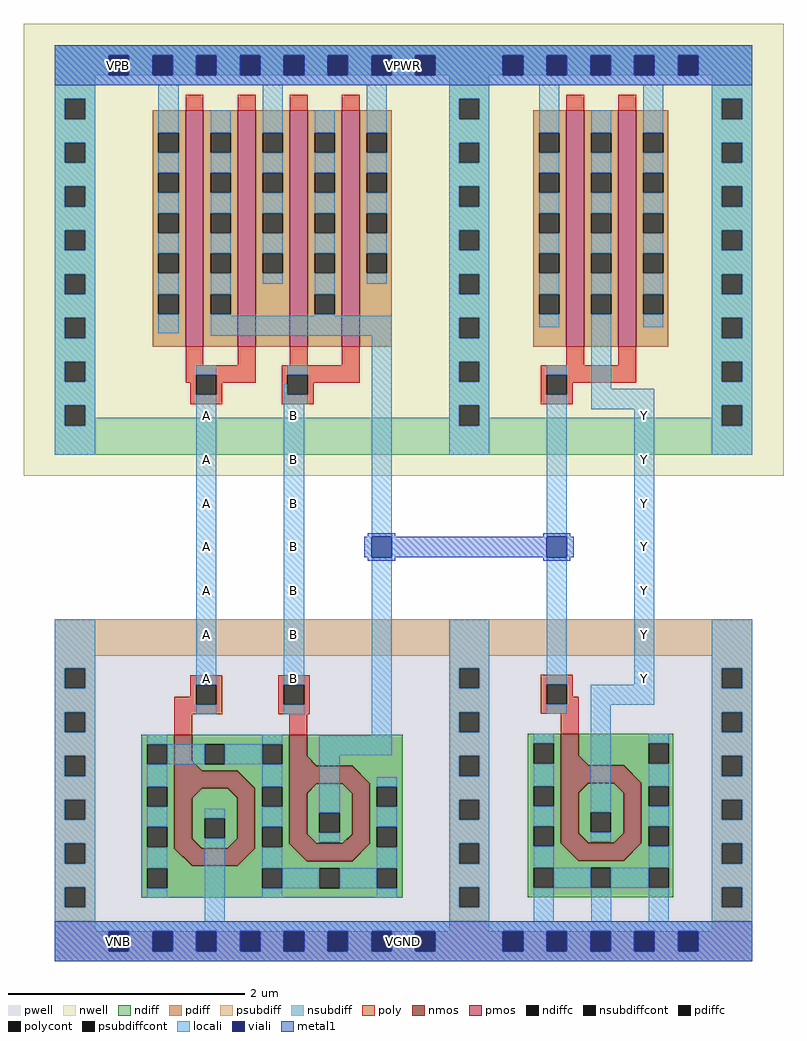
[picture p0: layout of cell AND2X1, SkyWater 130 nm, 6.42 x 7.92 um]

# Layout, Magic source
magic
tech sky130A
magscale 1 2
<< nwell >>
rect -87 786 1197 1550
<< pwell >>
rect -34 -34 1144 544
<< nmos >>
rect 168 288 198 349
tri 198 288 214 304 sw
rect 362 296 392 349
tri 392 296 408 312 sw
rect 168 258 274 288
tri 274 258 304 288 sw
rect 362 266 468 296
tri 468 266 498 296 sw
rect 168 157 198 258
tri 198 242 214 258 nw
tri 258 242 274 258 ne
tri 198 157 214 173 sw
tri 258 157 274 173 se
rect 274 157 304 258
rect 362 165 392 266
tri 392 250 408 266 nw
tri 452 250 468 266 ne
tri 392 165 408 181 sw
tri 452 165 468 181 se
rect 468 165 498 266
tri 168 127 198 157 ne
rect 198 127 274 157
tri 274 127 304 157 nw
tri 362 135 392 165 ne
rect 392 135 468 165
tri 468 135 498 165 nw
rect 821 297 851 350
tri 851 297 867 313 sw
rect 821 267 927 297
tri 927 267 957 297 sw
rect 821 166 851 267
tri 851 251 867 267 nw
tri 911 251 927 267 ne
tri 851 166 867 182 sw
tri 911 166 927 182 se
rect 927 166 957 267
tri 821 136 851 166 ne
rect 851 136 927 166
tri 927 136 957 166 nw
<< pmos >>
rect 187 1004 217 1404
rect 275 1004 305 1404
rect 363 1004 393 1404
rect 451 1004 481 1404
rect 830 1004 860 1404
rect 918 1004 948 1404
<< ndiff >>
rect 112 333 168 349
rect 112 299 122 333
rect 156 299 168 333
rect 112 261 168 299
rect 198 333 362 349
rect 198 304 219 333
tri 198 288 214 304 ne
rect 214 299 219 304
rect 253 299 316 333
rect 350 299 362 333
rect 214 288 362 299
rect 392 312 554 349
tri 392 296 408 312 ne
rect 408 296 554 312
rect 112 227 122 261
rect 156 227 168 261
tri 274 258 304 288 ne
rect 304 261 362 288
tri 468 266 498 296 ne
rect 112 193 168 227
rect 112 159 122 193
rect 156 159 168 193
rect 112 127 168 159
tri 198 242 214 258 se
rect 214 242 258 258
tri 258 242 274 258 sw
rect 198 208 274 242
rect 198 174 219 208
rect 253 174 274 208
rect 198 173 274 174
tri 198 157 214 173 ne
rect 214 157 258 173
tri 258 157 274 173 nw
rect 304 227 316 261
rect 350 227 362 261
rect 304 193 362 227
rect 304 159 316 193
rect 350 159 362 193
tri 392 250 408 266 se
rect 408 250 452 266
tri 452 250 468 266 sw
rect 392 217 468 250
rect 392 183 413 217
rect 447 183 468 217
rect 392 181 468 183
tri 392 165 408 181 ne
rect 408 165 452 181
tri 452 165 468 181 nw
rect 498 261 554 296
rect 498 227 510 261
rect 544 227 554 261
rect 498 193 554 227
tri 168 127 198 157 sw
tri 274 127 304 157 se
rect 304 135 362 159
tri 362 135 392 165 sw
tri 468 135 498 165 se
rect 498 159 510 193
rect 544 159 554 193
rect 498 135 554 159
rect 304 127 554 135
rect 112 123 554 127
rect 112 89 122 123
rect 156 89 316 123
rect 350 89 413 123
rect 447 89 510 123
rect 544 89 554 123
rect 112 73 554 89
rect 765 334 821 350
rect 765 300 775 334
rect 809 300 821 334
rect 765 262 821 300
rect 851 334 1011 350
rect 851 313 969 334
tri 851 297 867 313 ne
rect 867 300 969 313
rect 1003 300 1011 334
rect 867 297 1011 300
tri 927 267 957 297 ne
rect 765 228 775 262
rect 809 228 821 262
rect 765 194 821 228
rect 765 160 775 194
rect 809 160 821 194
tri 851 251 867 267 se
rect 867 251 911 267
tri 911 251 927 267 sw
rect 851 218 927 251
rect 851 184 871 218
rect 905 184 927 218
rect 851 182 927 184
tri 851 166 867 182 ne
rect 867 166 911 182
tri 911 166 927 182 nw
rect 957 262 1011 297
rect 957 228 969 262
rect 1003 228 1011 262
rect 957 194 1011 228
rect 765 136 821 160
tri 821 136 851 166 sw
tri 927 136 957 166 se
rect 957 160 969 194
rect 1003 160 1011 194
rect 957 136 1011 160
rect 765 124 1011 136
rect 765 90 775 124
rect 809 90 871 124
rect 905 90 969 124
rect 1003 90 1011 124
rect 765 74 1011 90
<< pdiff >>
rect 131 1366 187 1404
rect 131 1332 141 1366
rect 175 1332 187 1366
rect 131 1298 187 1332
rect 131 1264 141 1298
rect 175 1264 187 1298
rect 131 1230 187 1264
rect 131 1196 141 1230
rect 175 1196 187 1230
rect 131 1162 187 1196
rect 131 1128 141 1162
rect 175 1128 187 1162
rect 131 1093 187 1128
rect 131 1059 141 1093
rect 175 1059 187 1093
rect 131 1004 187 1059
rect 217 1366 275 1404
rect 217 1332 229 1366
rect 263 1332 275 1366
rect 217 1298 275 1332
rect 217 1264 229 1298
rect 263 1264 275 1298
rect 217 1230 275 1264
rect 217 1196 229 1230
rect 263 1196 275 1230
rect 217 1162 275 1196
rect 217 1128 229 1162
rect 263 1128 275 1162
rect 217 1093 275 1128
rect 217 1059 229 1093
rect 263 1059 275 1093
rect 217 1004 275 1059
rect 305 1366 363 1404
rect 305 1332 317 1366
rect 351 1332 363 1366
rect 305 1298 363 1332
rect 305 1264 317 1298
rect 351 1264 363 1298
rect 305 1230 363 1264
rect 305 1196 317 1230
rect 351 1196 363 1230
rect 305 1162 363 1196
rect 305 1128 317 1162
rect 351 1128 363 1162
rect 305 1004 363 1128
rect 393 1366 451 1404
rect 393 1332 405 1366
rect 439 1332 451 1366
rect 393 1298 451 1332
rect 393 1264 405 1298
rect 439 1264 451 1298
rect 393 1230 451 1264
rect 393 1196 405 1230
rect 439 1196 451 1230
rect 393 1162 451 1196
rect 393 1128 405 1162
rect 439 1128 451 1162
rect 393 1093 451 1128
rect 393 1059 405 1093
rect 439 1059 451 1093
rect 393 1004 451 1059
rect 481 1366 535 1404
rect 481 1332 493 1366
rect 527 1332 535 1366
rect 481 1298 535 1332
rect 481 1264 493 1298
rect 527 1264 535 1298
rect 481 1230 535 1264
rect 481 1196 493 1230
rect 527 1196 535 1230
rect 481 1162 535 1196
rect 481 1128 493 1162
rect 527 1128 535 1162
rect 481 1004 535 1128
rect 774 1366 830 1404
rect 774 1332 784 1366
rect 818 1332 830 1366
rect 774 1298 830 1332
rect 774 1264 784 1298
rect 818 1264 830 1298
rect 774 1230 830 1264
rect 774 1196 784 1230
rect 818 1196 830 1230
rect 774 1162 830 1196
rect 774 1128 784 1162
rect 818 1128 830 1162
rect 774 1093 830 1128
rect 774 1059 784 1093
rect 818 1059 830 1093
rect 774 1004 830 1059
rect 860 1366 918 1404
rect 860 1332 872 1366
rect 906 1332 918 1366
rect 860 1298 918 1332
rect 860 1264 872 1298
rect 906 1264 918 1298
rect 860 1230 918 1264
rect 860 1196 872 1230
rect 906 1196 918 1230
rect 860 1162 918 1196
rect 860 1128 872 1162
rect 906 1128 918 1162
rect 860 1093 918 1128
rect 860 1059 872 1093
rect 906 1059 918 1093
rect 860 1004 918 1059
rect 948 1366 1002 1404
rect 948 1332 960 1366
rect 994 1332 1002 1366
rect 948 1298 1002 1332
rect 948 1264 960 1298
rect 994 1264 1002 1298
rect 948 1230 1002 1264
rect 948 1196 960 1230
rect 994 1196 1002 1230
rect 948 1162 1002 1196
rect 948 1128 960 1162
rect 994 1128 1002 1162
rect 948 1093 1002 1128
rect 948 1059 960 1093
rect 994 1059 1002 1093
rect 948 1004 1002 1059
<< ndiffc >>
rect 122 299 156 333
rect 219 299 253 333
rect 316 299 350 333
rect 122 227 156 261
rect 122 159 156 193
rect 219 174 253 208
rect 316 227 350 261
rect 316 159 350 193
rect 413 183 447 217
rect 510 227 544 261
rect 510 159 544 193
rect 122 89 156 123
rect 316 89 350 123
rect 413 89 447 123
rect 510 89 544 123
rect 775 300 809 334
rect 969 300 1003 334
rect 775 228 809 262
rect 775 160 809 194
rect 871 184 905 218
rect 969 228 1003 262
rect 969 160 1003 194
rect 775 90 809 124
rect 871 90 905 124
rect 969 90 1003 124
<< pdiffc >>
rect 141 1332 175 1366
rect 141 1264 175 1298
rect 141 1196 175 1230
rect 141 1128 175 1162
rect 141 1059 175 1093
rect 229 1332 263 1366
rect 229 1264 263 1298
rect 229 1196 263 1230
rect 229 1128 263 1162
rect 229 1059 263 1093
rect 317 1332 351 1366
rect 317 1264 351 1298
rect 317 1196 351 1230
rect 317 1128 351 1162
rect 405 1332 439 1366
rect 405 1264 439 1298
rect 405 1196 439 1230
rect 405 1128 439 1162
rect 405 1059 439 1093
rect 493 1332 527 1366
rect 493 1264 527 1298
rect 493 1196 527 1230
rect 493 1128 527 1162
rect 784 1332 818 1366
rect 784 1264 818 1298
rect 784 1196 818 1230
rect 784 1128 818 1162
rect 784 1059 818 1093
rect 872 1332 906 1366
rect 872 1264 906 1298
rect 872 1196 906 1230
rect 872 1128 906 1162
rect 872 1059 906 1093
rect 960 1332 994 1366
rect 960 1264 994 1298
rect 960 1196 994 1230
rect 960 1128 994 1162
rect 960 1059 994 1093
<< psubdiff >>
rect -34 482 1144 544
rect -34 461 34 482
rect -34 427 -17 461
rect 17 427 34 461
rect 632 461 700 482
rect -34 387 34 427
rect -34 353 -17 387
rect 17 353 34 387
rect -34 313 34 353
rect 632 427 649 461
rect 683 427 700 461
rect 1076 461 1144 482
rect 632 387 700 427
rect 632 353 649 387
rect 683 353 700 387
rect 1076 427 1093 461
rect 1127 427 1144 461
rect -34 279 -17 313
rect 17 279 34 313
rect -34 239 34 279
rect -34 205 -17 239
rect 17 205 34 239
rect -34 165 34 205
rect -34 131 -17 165
rect 17 131 34 165
rect -34 91 34 131
rect -34 57 -17 91
rect 17 57 34 91
rect 632 313 700 353
rect 1076 387 1144 427
rect 1076 353 1093 387
rect 1127 353 1144 387
rect 632 279 649 313
rect 683 279 700 313
rect 632 239 700 279
rect 632 205 649 239
rect 683 205 700 239
rect 632 165 700 205
rect 632 131 649 165
rect 683 131 700 165
rect 632 91 700 131
rect -34 17 34 57
rect 632 57 649 91
rect 683 57 700 91
rect 1076 313 1144 353
rect 1076 279 1093 313
rect 1127 279 1144 313
rect 1076 239 1144 279
rect 1076 205 1093 239
rect 1127 205 1144 239
rect 1076 165 1144 205
rect 1076 131 1093 165
rect 1127 131 1144 165
rect 1076 91 1144 131
rect 632 17 700 57
rect 1076 57 1093 91
rect 1127 57 1144 91
rect 1076 17 1144 57
rect -34 -17 57 17
rect 91 -17 131 17
rect 165 -17 205 17
rect 239 -17 279 17
rect 313 -17 353 17
rect 387 -17 427 17
rect 461 -17 501 17
rect 535 -17 575 17
rect 609 -17 723 17
rect 757 -17 797 17
rect 831 -17 871 17
rect 905 -17 945 17
rect 979 -17 1019 17
rect 1053 -17 1144 17
rect -34 -34 1144 -17
<< nsubdiff >>
rect -34 1497 1144 1514
rect -34 1463 57 1497
rect 91 1463 131 1497
rect 165 1463 205 1497
rect 239 1463 279 1497
rect 313 1463 353 1497
rect 387 1463 427 1497
rect 461 1463 501 1497
rect 535 1463 575 1497
rect 609 1463 723 1497
rect 757 1463 797 1497
rect 831 1463 871 1497
rect 905 1463 945 1497
rect 979 1463 1019 1497
rect 1053 1463 1144 1497
rect -34 1423 34 1463
rect -34 1389 -17 1423
rect 17 1389 34 1423
rect 632 1423 700 1463
rect -34 1349 34 1389
rect -34 1315 -17 1349
rect 17 1315 34 1349
rect -34 1275 34 1315
rect -34 1241 -17 1275
rect 17 1241 34 1275
rect -34 1201 34 1241
rect -34 1167 -17 1201
rect 17 1167 34 1201
rect -34 1127 34 1167
rect -34 1093 -17 1127
rect 17 1093 34 1127
rect -34 1053 34 1093
rect -34 1019 -17 1053
rect 17 1019 34 1053
rect -34 979 34 1019
rect 632 1389 649 1423
rect 683 1389 700 1423
rect 1076 1423 1144 1463
rect 632 1349 700 1389
rect 632 1315 649 1349
rect 683 1315 700 1349
rect 632 1275 700 1315
rect 632 1241 649 1275
rect 683 1241 700 1275
rect 632 1201 700 1241
rect 632 1167 649 1201
rect 683 1167 700 1201
rect 632 1127 700 1167
rect 632 1093 649 1127
rect 683 1093 700 1127
rect 632 1053 700 1093
rect 632 1019 649 1053
rect 683 1019 700 1053
rect -34 945 -17 979
rect 17 945 34 979
rect -34 905 34 945
rect 632 979 700 1019
rect 1076 1389 1093 1423
rect 1127 1389 1144 1423
rect 1076 1349 1144 1389
rect 1076 1315 1093 1349
rect 1127 1315 1144 1349
rect 1076 1275 1144 1315
rect 1076 1241 1093 1275
rect 1127 1241 1144 1275
rect 1076 1201 1144 1241
rect 1076 1167 1093 1201
rect 1127 1167 1144 1201
rect 1076 1127 1144 1167
rect 1076 1093 1093 1127
rect 1127 1093 1144 1127
rect 1076 1053 1144 1093
rect 1076 1019 1093 1053
rect 1127 1019 1144 1053
rect 632 945 649 979
rect 683 945 700 979
rect -34 871 -17 905
rect 17 884 34 905
rect 632 905 700 945
rect 1076 979 1144 1019
rect 1076 945 1093 979
rect 1127 945 1144 979
rect 632 884 649 905
rect 17 871 649 884
rect 683 884 700 905
rect 1076 905 1144 945
rect 1076 884 1093 905
rect 683 871 1093 884
rect 1127 871 1144 905
rect -34 822 1144 871
<< psubdiffcont >>
rect -17 427 17 461
rect -17 353 17 387
rect 649 427 683 461
rect 649 353 683 387
rect 1093 427 1127 461
rect -17 279 17 313
rect -17 205 17 239
rect -17 131 17 165
rect -17 57 17 91
rect 1093 353 1127 387
rect 649 279 683 313
rect 649 205 683 239
rect 649 131 683 165
rect 649 57 683 91
rect 1093 279 1127 313
rect 1093 205 1127 239
rect 1093 131 1127 165
rect 1093 57 1127 91
rect 57 -17 91 17
rect 131 -17 165 17
rect 205 -17 239 17
rect 279 -17 313 17
rect 353 -17 387 17
rect 427 -17 461 17
rect 501 -17 535 17
rect 575 -17 609 17
rect 723 -17 757 17
rect 797 -17 831 17
rect 871 -17 905 17
rect 945 -17 979 17
rect 1019 -17 1053 17
<< nsubdiffcont >>
rect 57 1463 91 1497
rect 131 1463 165 1497
rect 205 1463 239 1497
rect 279 1463 313 1497
rect 353 1463 387 1497
rect 427 1463 461 1497
rect 501 1463 535 1497
rect 575 1463 609 1497
rect 723 1463 757 1497
rect 797 1463 831 1497
rect 871 1463 905 1497
rect 945 1463 979 1497
rect 1019 1463 1053 1497
rect -17 1389 17 1423
rect -17 1315 17 1349
rect -17 1241 17 1275
rect -17 1167 17 1201
rect -17 1093 17 1127
rect -17 1019 17 1053
rect 649 1389 683 1423
rect 649 1315 683 1349
rect 649 1241 683 1275
rect 649 1167 683 1201
rect 649 1093 683 1127
rect 649 1019 683 1053
rect -17 945 17 979
rect 1093 1389 1127 1423
rect 1093 1315 1127 1349
rect 1093 1241 1127 1275
rect 1093 1167 1127 1201
rect 1093 1093 1127 1127
rect 1093 1019 1127 1053
rect 649 945 683 979
rect -17 871 17 905
rect 1093 945 1127 979
rect 649 871 683 905
rect 1093 871 1127 905
<< poly >>
rect 187 1404 217 1430
rect 275 1404 305 1430
rect 363 1404 393 1430
rect 451 1404 481 1430
rect 830 1404 860 1430
rect 918 1404 948 1430
rect 187 973 217 1004
rect 275 973 305 1004
rect 363 973 393 1004
rect 451 973 481 1004
rect 187 957 305 973
rect 187 943 205 957
rect 195 923 205 943
rect 239 943 305 957
rect 349 957 481 973
rect 239 923 249 943
rect 195 907 249 923
rect 349 923 359 957
rect 393 943 481 957
rect 830 973 860 1004
rect 918 973 948 1004
rect 393 923 403 943
rect 349 907 403 923
rect 787 957 948 973
rect 787 923 797 957
rect 831 943 948 957
rect 831 923 841 943
rect 787 907 841 923
rect 195 433 249 449
rect 195 413 205 433
rect 168 399 205 413
rect 239 399 249 433
rect 168 383 249 399
rect 343 433 397 449
rect 343 399 353 433
rect 387 399 397 433
rect 343 383 397 399
rect 168 349 198 383
rect 362 349 392 383
rect 787 434 841 450
rect 787 400 797 434
rect 831 413 841 434
rect 831 400 851 413
rect 787 384 851 400
rect 821 350 851 384
<< polycont >>
rect 205 923 239 957
rect 359 923 393 957
rect 797 923 831 957
rect 205 399 239 433
rect 353 399 387 433
rect 797 400 831 434
<< locali >>
rect -34 1497 1144 1514
rect -34 1463 57 1497
rect 91 1463 131 1497
rect 165 1463 205 1497
rect 239 1463 279 1497
rect 313 1463 353 1497
rect 387 1463 427 1497
rect 461 1463 501 1497
rect 535 1463 575 1497
rect 609 1463 723 1497
rect 757 1463 797 1497
rect 831 1463 871 1497
rect 905 1463 945 1497
rect 979 1463 1019 1497
rect 1053 1463 1144 1497
rect -34 1446 1144 1463
rect -34 1423 34 1446
rect -34 1389 -17 1423
rect 17 1389 34 1423
rect -34 1349 34 1389
rect -34 1315 -17 1349
rect 17 1315 34 1349
rect -34 1275 34 1315
rect -34 1241 -17 1275
rect 17 1241 34 1275
rect -34 1201 34 1241
rect -34 1167 -17 1201
rect 17 1167 34 1201
rect -34 1127 34 1167
rect -34 1093 -17 1127
rect 17 1093 34 1127
rect -34 1053 34 1093
rect -34 1019 -17 1053
rect 17 1019 34 1053
rect 141 1366 175 1446
rect 141 1298 175 1332
rect 141 1230 175 1264
rect 141 1162 175 1196
rect 141 1093 175 1128
rect 141 1027 175 1059
rect 229 1366 263 1404
rect 229 1298 263 1332
rect 229 1230 263 1264
rect 229 1162 263 1196
rect 229 1093 263 1128
rect 317 1366 351 1446
rect 317 1298 351 1332
rect 317 1230 351 1264
rect 317 1162 351 1196
rect 317 1111 351 1128
rect 405 1366 439 1404
rect 405 1298 439 1332
rect 405 1230 439 1264
rect 405 1162 439 1196
rect 229 1057 263 1059
rect 405 1093 439 1128
rect 493 1366 527 1446
rect 493 1298 527 1332
rect 493 1230 527 1264
rect 493 1162 527 1196
rect 493 1111 527 1128
rect 632 1423 700 1446
rect 632 1389 649 1423
rect 683 1389 700 1423
rect 632 1349 700 1389
rect 632 1315 649 1349
rect 683 1315 700 1349
rect 632 1275 700 1315
rect 632 1241 649 1275
rect 683 1241 700 1275
rect 632 1201 700 1241
rect 632 1167 649 1201
rect 683 1167 700 1201
rect 632 1127 700 1167
rect 405 1057 439 1059
rect 632 1093 649 1127
rect 683 1093 700 1127
rect 229 1023 535 1057
rect -34 979 34 1019
rect -34 945 -17 979
rect 17 945 34 979
rect -34 905 34 945
rect -34 871 -17 905
rect 17 871 34 905
rect -34 822 34 871
rect 205 957 239 973
rect 359 957 393 973
rect -34 461 34 544
rect -34 427 -17 461
rect 17 427 34 461
rect -34 387 34 427
rect -34 353 -17 387
rect 17 353 34 387
rect 205 433 239 923
rect 205 383 239 399
rect 353 923 359 942
rect 353 907 393 923
rect 353 433 387 907
rect 353 383 387 399
rect 501 683 535 1023
rect 632 1053 700 1093
rect 632 1019 649 1053
rect 683 1019 700 1053
rect 784 1366 818 1446
rect 784 1298 818 1332
rect 784 1230 818 1264
rect 784 1162 818 1196
rect 784 1093 818 1128
rect 784 1037 818 1059
rect 872 1366 906 1404
rect 872 1298 906 1332
rect 872 1230 906 1264
rect 872 1162 906 1196
rect 872 1093 906 1128
rect 632 979 700 1019
rect 632 945 649 979
rect 683 945 700 979
rect 632 905 700 945
rect 632 871 649 905
rect 683 871 700 905
rect 632 822 700 871
rect 797 957 831 973
rect -34 313 34 353
rect -34 279 -17 313
rect 17 279 34 313
rect -34 239 34 279
rect -34 205 -17 239
rect 17 205 34 239
rect -34 165 34 205
rect -34 131 -17 165
rect 17 131 34 165
rect -34 91 34 131
rect -34 57 -17 91
rect 17 57 34 91
rect 122 333 156 349
rect 316 333 350 349
rect 501 348 535 649
rect 797 683 831 923
rect 872 933 906 1059
rect 960 1366 994 1446
rect 960 1298 994 1332
rect 960 1230 994 1264
rect 960 1162 994 1196
rect 960 1093 994 1128
rect 960 1037 994 1059
rect 1076 1423 1144 1446
rect 1076 1389 1093 1423
rect 1127 1389 1144 1423
rect 1076 1349 1144 1389
rect 1076 1315 1093 1349
rect 1127 1315 1144 1349
rect 1076 1275 1144 1315
rect 1076 1241 1093 1275
rect 1127 1241 1144 1275
rect 1076 1201 1144 1241
rect 1076 1167 1093 1201
rect 1127 1167 1144 1201
rect 1076 1127 1144 1167
rect 1076 1093 1093 1127
rect 1127 1093 1144 1127
rect 1076 1053 1144 1093
rect 1076 1019 1093 1053
rect 1127 1019 1144 1053
rect 1076 979 1144 1019
rect 1076 945 1093 979
rect 1127 945 1144 979
rect 872 899 979 933
rect 156 299 219 333
rect 253 299 316 333
rect 122 261 156 299
rect 122 193 156 227
rect 316 261 350 299
rect 122 123 156 159
rect 122 73 156 89
rect 219 208 253 224
rect -34 34 34 57
rect 219 34 253 174
rect 316 193 350 227
rect 413 314 535 348
rect 632 461 700 544
rect 632 427 649 461
rect 683 427 700 461
rect 632 387 700 427
rect 632 353 649 387
rect 683 353 700 387
rect 797 434 831 649
rect 945 433 979 899
rect 1076 905 1144 945
rect 1076 871 1093 905
rect 1127 871 1144 905
rect 1076 822 1144 871
rect 797 384 831 400
rect 871 399 979 433
rect 1076 461 1144 544
rect 1076 427 1093 461
rect 1127 427 1144 461
rect 413 217 447 314
rect 632 313 700 353
rect 632 279 649 313
rect 683 279 700 313
rect 413 167 447 183
rect 510 261 544 277
rect 510 193 544 227
rect 316 123 350 159
rect 510 123 544 159
rect 350 89 413 123
rect 447 89 510 123
rect 316 73 350 89
rect 510 73 544 89
rect 632 239 700 279
rect 632 205 649 239
rect 683 205 700 239
rect 632 165 700 205
rect 632 131 649 165
rect 683 131 700 165
rect 632 91 700 131
rect 632 57 649 91
rect 683 57 700 91
rect 632 34 700 57
rect 775 334 809 350
rect 775 262 809 300
rect 775 194 809 228
rect 871 218 905 399
rect 1076 387 1144 427
rect 1076 353 1093 387
rect 1127 353 1144 387
rect 871 168 905 184
rect 969 334 1003 350
rect 969 262 1003 300
rect 969 194 1003 228
rect 775 124 809 160
rect 969 124 1003 160
rect 809 90 871 124
rect 905 90 969 124
rect 775 34 809 90
rect 872 34 906 90
rect 969 34 1003 90
rect 1076 313 1144 353
rect 1076 279 1093 313
rect 1127 279 1144 313
rect 1076 239 1144 279
rect 1076 205 1093 239
rect 1127 205 1144 239
rect 1076 165 1144 205
rect 1076 131 1093 165
rect 1127 131 1144 165
rect 1076 91 1144 131
rect 1076 57 1093 91
rect 1127 57 1144 91
rect 1076 34 1144 57
rect -34 17 1144 34
rect -34 -17 57 17
rect 91 -17 131 17
rect 165 -17 205 17
rect 239 -17 279 17
rect 313 -17 353 17
rect 387 -17 427 17
rect 461 -17 501 17
rect 535 -17 575 17
rect 609 -17 723 17
rect 757 -17 797 17
rect 831 -17 871 17
rect 905 -17 945 17
rect 979 -17 1019 17
rect 1053 -17 1144 17
rect -34 -34 1144 -17
<< viali >>
rect 57 1463 91 1497
rect 131 1463 165 1497
rect 205 1463 239 1497
rect 279 1463 313 1497
rect 353 1463 387 1497
rect 427 1463 461 1497
rect 501 1463 535 1497
rect 575 1463 609 1497
rect 723 1463 757 1497
rect 797 1463 831 1497
rect 871 1463 905 1497
rect 945 1463 979 1497
rect 1019 1463 1053 1497
rect 501 649 535 683
rect 797 649 831 683
rect 57 -17 91 17
rect 131 -17 165 17
rect 205 -17 239 17
rect 279 -17 313 17
rect 353 -17 387 17
rect 427 -17 461 17
rect 501 -17 535 17
rect 575 -17 609 17
rect 723 -17 757 17
rect 797 -17 831 17
rect 871 -17 905 17
rect 945 -17 979 17
rect 1019 -17 1053 17
<< metal1 >>
rect -34 1497 1144 1514
rect -34 1463 57 1497
rect 91 1463 131 1497
rect 165 1463 205 1497
rect 239 1463 279 1497
rect 313 1463 353 1497
rect 387 1463 427 1497
rect 461 1463 501 1497
rect 535 1463 575 1497
rect 609 1463 723 1497
rect 757 1463 797 1497
rect 831 1463 871 1497
rect 905 1463 945 1497
rect 979 1463 1019 1497
rect 1053 1463 1144 1497
rect -34 1446 1144 1463
rect 495 683 541 689
rect 791 683 837 689
rect 489 649 501 683
rect 535 649 797 683
rect 831 649 843 683
rect 495 643 541 649
rect 791 643 837 649
rect -34 17 1144 34
rect -34 -17 57 17
rect 91 -17 131 17
rect 165 -17 205 17
rect 239 -17 279 17
rect 313 -17 353 17
rect 387 -17 427 17
rect 461 -17 501 17
rect 535 -17 575 17
rect 609 -17 723 17
rect 757 -17 797 17
rect 831 -17 871 17
rect 905 -17 945 17
rect 979 -17 1019 17
rect 1053 -17 1144 17
rect -34 -34 1144 -17
<< labels >>
rlabel metal1 945 575 979 609 1 Y
port 1 n
rlabel metal1 945 501 979 535 1 Y
port 2 n
rlabel metal1 945 427 979 461 1 Y
port 3 n
rlabel metal1 945 649 979 683 1 Y
port 4 n
rlabel metal1 945 723 979 757 1 Y
port 5 n
rlabel metal1 945 797 979 831 1 Y
port 6 n
rlabel metal1 945 871 979 905 1 Y
port 7 n
rlabel metal1 205 427 239 461 1 A
port 8 n
rlabel metal1 205 501 239 535 1 A
port 9 n
rlabel metal1 205 575 239 609 1 A
port 10 n
rlabel metal1 205 649 239 683 1 A
port 11 n
rlabel metal1 205 723 239 757 1 A
port 12 n
rlabel metal1 205 797 239 831 1 A
port 13 n
rlabel metal1 205 871 239 905 1 A
port 14 n
rlabel metal1 353 871 387 905 1 B
port 15 n
rlabel metal1 353 797 387 831 1 B
port 16 n
rlabel metal1 353 723 387 757 1 B
port 17 n
rlabel metal1 353 649 387 683 1 B
port 18 n
rlabel metal1 353 575 387 609 1 B
port 19 n
rlabel metal1 353 501 387 535 1 B
port 20 n
rlabel metal1 353 427 387 461 1 B
port 21 n
rlabel metal1 -34 1446 1144 1514 1 VPWR
port 22 n
rlabel metal1 -34 -34 1144 34 1 VGND
port 23 n
rlabel nwell 57 1463 91 1497 1 VPB
port 24 n
rlabel pwell 57 -17 91 17 1 VNB
port 25 n
<< end >>
